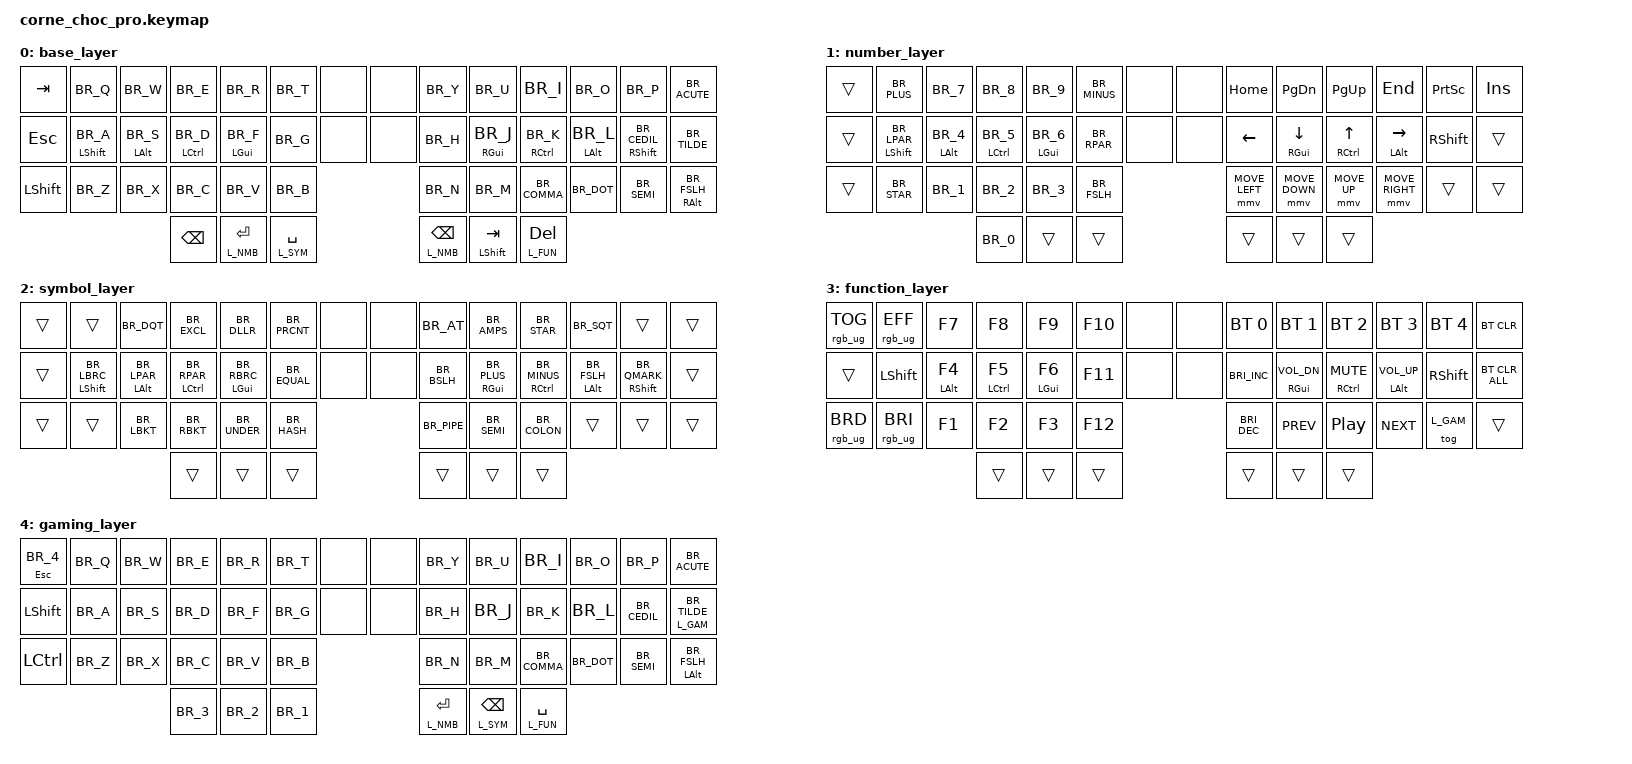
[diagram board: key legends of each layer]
/*
 * Copyright (c) 2020 The ZMK Contributors
 *
 * SPDX-License-Identifier: MIT
 */

#include <behaviors.dtsi>
#include <dt-bindings/zmk/keys.h>
#include <dt-bindings/zmk/bt.h>
#include <dt-bindings/zmk/pointing.h>
#include <dt-bindings/zmk/rgb.h>
#include "keymap_abnt2.h"

// Took from: sukantamaikap/zmk-config-corne
#define LEFT_POSITIONS  0 1 2 3 4 5 14 15 16 17 18 19 28 29 30 31 32 33
#define RIGHT_POSITIONS 8 9 10 11 12 13 22 23 24 25 26 27 34 35 36 37 38 39
#define THUMBS          40 41 42 43 44 45

/* Key Positions:
╭────────────────────────────╮ ╭────────────────────────────╮
│  0   1   2   3   4   5 ( 6)│ │( 7)  8   9  10  11  12  13 │
│ 14  15  16  17  18  19 (20)│ │(21) 22  23  24  25  26  27 │
│ 28  29  30  31  32  33     │ │     34  35  36  37  38  39 │
╰───────────╮ 40  41  42     │ │     43  44  45 ╭───────────╯
            ╰────────────────╯ ╰────────────────╯
 (6, 7, 20, 21) are the optional inner keys/encoders. On this board the
 displays sit there, so they are bound to &none on every layer.
*/

/ {
    chosen {
        zmk,physical-layout = &default_layout;
    };
};

// Layers
#define L_BSE 0
#define L_NMB 1
#define L_SYM 2
#define L_FUN 3
#define L_GAM 4

/ {
    combos {
        compatible = "zmk,combos";

        combo_caps_word {
            timeout-ms = <40>;
            require-prior-idle-ms = <150>;
            key-positions = <15 26>;
            bindings = <&caps_word>;
            layers = <L_BSE>;
        };

        combo_copy {
            timeout-ms = <40>;
            require-prior-idle-ms = <150>;
            key-positions = <30 31>; // X + C
            bindings = <&kp LC(BR_C)>;
            layers = <L_BSE>;
        };

        combo_paste {
            timeout-ms = <40>;
            require-prior-idle-ms = <150>;
            key-positions = <31 32>; // C + V
            bindings = <&kp LC(BR_V)>;
            layers = <L_BSE>;
        };

        combo_cut {
            timeout-ms = <40>;
            require-prior-idle-ms = <150>;
            key-positions = <30 32>; // X + V
            bindings = <&kp LC(BR_X)>;
            layers = <L_BSE>;
        };
    };
    
    behaviors {
        hrml: home_row_mods_left {
            compatible = "zmk,behavior-hold-tap";
            flavor = "balanced";
            tapping-term-ms = <280>;
            quick-tap-ms = <150>;
            require-prior-idle-ms = <105>;
            #binding-cells = <2>;
            bindings = <&kp>, <&kp>;
            hold-trigger-key-positions = <RIGHT_POSITIONS THUMBS>;
            hold-trigger-on-release; // delay positional check until key release
            // global-quick-tap-ms = <75>
        };

        hrmr: home_row_mods_right {
            compatible = "zmk,behavior-hold-tap";
            flavor = "balanced";
            tapping-term-ms = <280>;
            quick-tap-ms = <150>;
            require-prior-idle-ms = <105>;
            #binding-cells = <2>;
            bindings = <&kp>, <&kp>;
            hold-trigger-key-positions = <LEFT_POSITIONS THUMBS>;
            hold-trigger-on-release; // delay positional check until key release
            // global-quick-tap-ms = <75>
        };

        mtb: mod_tap_balanced {
            compatible = "zmk,behavior-hold-tap";
            flavor = "balanced";
            #binding-cells = <2>;
            tapping-term-ms = <200>;
            quick-tap-ms = <140>;
            bindings = <&kp>, <&kp>;
        };

        mtsh: mod_tap_shift {
            compatible = "zmk,behavior-hold-tap";
            flavor = "hold-preferred"; // any key pressed while held -> shift
            #binding-cells = <2>;
            tapping-term-ms = <200>;
            quick-tap-ms = <100>;
            bindings = <&kp>, <&kp>;
        };

        ltb: layer_tap_balanced {
            compatible = "zmk,behavior-hold-tap";
            flavor = "balanced";
            #binding-cells = <2>;
            tapping-term-ms = <200>;
            quick-tap-ms = <140>; // low enough for "space, then hold space for a symbol"
            bindings = <&mo>, <&kp>;
        };

        mttp: mod_tap_tap_preferred {
            compatible = "zmk,behavior-hold-tap";
            #binding-cells = <2>;
            tapping-term-ms = <200>;
            quick-tap-ms = <120>;
            require-prior-idle-ms = <50>;
            flavor = "tap-preferred";
            bindings = <&kp>, <&kp>;
        };

        lttp: layer_toggle_tap_preferred {
            compatible = "zmk,behavior-hold-tap";
            #binding-cells = <2>;
            tapping-term-ms = <300>;
            quick-tap-ms = <150>;
            require-prior-idle-ms = <50>;
            flavor = "tap-preferred";
            bindings = <&tog>, <&kp>;
        };
    };
    
    keymap {
        compatible = "zmk,keymap";
    
        base_layer {
            /*
            * ┌───────┬───────┬───────┬───────┬───────┬───────┐         ┌───────┬───────┬───────┬───────┬───────┬───────┐
            * │  TAB  │   Q   │   W   │   E   │   R   │   T   │         │   Y   │   U   │   I   │   O   │   P   │   ´   │
            * │       │       │       │       │       │       │         │       │       │       │       │       │   `   │
            * ├───────┼───────┼───────┼───────┼───────┼───────┤         ├───────┼───────┼───────┼───────┼───────┼───────┤
            * │  ESC  │   A   │   S   │   D   │   F   │   G   │         │   H   │   J   │   K   │   L   │   Ç   │   ~   │
            * │       │ LSHFT │  LALT │ LCTRL │  LGUI │       │         │       │ RGUI  │ RCTRL │ LALT  │ RSHFT │   ^   │
            * ├───────┼───────┼───────┼───────┼───────┼───────┤         ├───────┼───────┼───────┼───────┼───────┼───────┤
            * │ LSHFT │   Z   │   X   │   C   │   V   │   B   │         │   N   │   M   │   ,   │   .   │   ;   │  / ?  │
            * │       │       │       │       │       │       │         │       │       │   <   │   >   │   :   │ RALT  │
            * └───────┴───────┴───────┼───────┼───────┼───────┤         ├───────┼───────┼───────┼───────┴───────┴───────┘
            *                         │  BSPC │  RET  │ SPACE │         │ BSPC  │  TAB  │  DEL  │
            *                         │       │ L_NMB │ L_SYM │         │ L_NMB │ LSHFT │ L_FUN │
            *                         └───────┴───────┴───────┘         └───────┴───────┴───────┘
            */
    
            bindings = <
                &kp TAB   &kp BR_Q         &kp BR_W        &kp BR_E         &kp BR_R        &kp BR_T         &none     &none &kp BR_Y        &kp BR_U         &kp BR_I         &kp BR_O        &kp BR_P             &kp BR_ACUTE
                &kp ESC   &hrml LSHFT BR_A &hrml LALT BR_S &hrml LCTRL BR_D &hrml LGUI BR_F &kp BR_G         &none     &none &kp BR_H        &hrmr RGUI BR_J  &hrmr RCTRL BR_K &hrmr LALT BR_L &hrmr RSHFT BR_CEDIL &kp BR_TILDE
                &kp LSHFT &kp BR_Z         &kp BR_X        &kp BR_C         &kp BR_V        &kp BR_B                         &kp BR_N        &kp BR_M         &kp BR_COMMA     &kp BR_DOT      &kp BR_SEMI          &mtb RALT BR_FSLH
                                                           &kp BSPC         &ltb L_NMB RET  &ltb L_SYM SPACE                 &ltb L_NMB BSPC &mtsh LSHFT TAB  &ltb L_FUN DEL
            >;
        };
    
        number_layer {
            /*
            * ┌───────┬───────┬───────┬───────┬───────┬───────┐         ┌───────┬───────┬───────┬───────┬───────┬───────┐
            * │   ▼   │   +   │   7   │   8   │   9   │   -   │         │ HOME  │ PG_DN │ PG_UP │  END  │ PSCRN │  INS  │
            * │       │       │       │       │       │       │         │       │       │       │       │       │       │
            * ├───────┼───────┼───────┼───────┼───────┼───────┤         ├───────┼───────┼───────┼───────┼───────┼───────┤
            * │   ▼   │   (   │   4   │   5   │   6   │   )   │         │ LEFT  │ DOWN  │  UP   │ RIGHT │  ▼    │  ▼    │
            * │       │ LSHFT │  LALT │ LCTRL │  LGUI │       │         │       │ RGUI  │ RCTRL │ LALT  │       │       │
            * ├───────┼───────┼───────┼───────┼───────┼───────┤         ├───────┼───────┼───────┼───────┼───────┼───────┤
            * │   ▼   │   *   │   1   │   2   │   3   │   /   │         │ MOUSE │ MOUSE │ MOUSE │ MOUSE │  ▼    │  ▼    │
            * │       │       │       │       │       │       │         │ LEFT  │ DOWN  │  UP   │ RIGHT │       │       │
            * └───────┴───────┴───────┼───────┼───────┼───────┤         ├───────┼───────┼───────┼───────┴───────┴───────┘
            *                         │   0   │   ▼   │   ▼   │         │  ▼    │  ▼    │  ▼    │
            *                         │       │       │       │         │       │       │       │
            *                         └───────┴───────┴───────┘         └───────┴───────┴───────┘
            */
            bindings = <
                &trans &kp BR_PLUS         &kp BR_7        &kp BR_8         &kp BR_9        &kp BR_MINUS &none      &none &kp HOME        &kp PG_DN       &kp PG_UP      &kp END          &kp PSCRN &kp INS
                &trans &hrml LSHFT BR_LPAR &hrml LALT BR_4 &hrml LCTRL BR_5 &hrml LGUI BR_6 &kp BR_RPAR  &none      &none &kp LEFT        &hrmr RGUI DOWN &hrmr RCTRL UP &hrmr LALT RIGHT &kp RSHFT &trans
                &trans &kp BR_STAR         &kp BR_1        &kp BR_2         &kp BR_3        &kp BR_FSLH                   &mmv MOVE_LEFT  &mmv MOVE_DOWN  &mmv MOVE_UP   &mmv MOVE_RIGHT  &trans    &trans
                                                           &kp BR_0         &trans          &trans                        &trans          &trans          &trans
            >;
        };
    
        symbol_layer {
            /*
            * ┌───────┬───────┬───────┬───────┬───────┬───────┐         ┌───────┬───────┬───────┬───────┬───────┬───────┐
            * │   ▼   │   ▼   │   "   │   !   │   $   │   %   │         │   @   │   &   │   *   │   '   │  ▼    │  ▼    │
            * │       │       │       │       │       │       │         │       │       │       │       │       │       │
            * ├───────┼───────┼───────┼───────┼───────┼───────┤         ├───────┼───────┼───────┼───────┼───────┼───────┤
            * │   ▼   │   {   │   (   │   )   │   }   │   =   │         │   \   │   +   │   -   │   /   │   ?   │  ▼    │
            * │       │ LSHFT │  LALT │ LCTRL │  LGUI │       │         │       │ RGUI  │ RCTRL │ LALT  │ RSHFT │       │
            * ├───────┼───────┼───────┼───────┼───────┼───────┤         ├───────┼───────┼───────┼───────┼───────┼───────┤
            * │   ▼   │   ▼   │   [   │   ]   │   _   │   #   │         │   |   │   ;   │   :   │  ▼    │  ▼    │  ▼    │
            * │       │       │       │       │       │       │         │       │       │       │       │       │       │
            * └───────┴───────┴───────┼───────┼───────┼───────┤         ├───────┼───────┼───────┼───────┴───────┴───────┘
            *                         │   ▼   │   ▼   │   ▼   │         │  ▼    │  ▼    │  ▼    │
            *                         │       │       │       │         │       │       │       │
            *                         └───────┴───────┴───────┘         └───────┴───────┴───────┘
            */
            bindings = <
                &trans &trans              &kp BR_DQT         &kp BR_EXCL         &kp BR_DLLR         &kp BR_PRCNT &none     &none   &kp BR_AT   &kp BR_AMPS        &kp BR_STAR          &kp BR_SQT         &trans               &trans
                &trans &hrml LSHFT BR_LBRC &hrml LALT BR_LPAR &hrml LCTRL BR_RPAR &hrml LGUI BR_RBRC  &kp BR_EQUAL &none     &none   &kp BR_BSLH &hrmr RGUI BR_PLUS &hrmr RCTRL BR_MINUS &hrmr LALT BR_FSLH &hrmr RSHFT BR_QMARK &trans
                &trans &trans              &kp BR_LBKT        &kp BR_RBKT         &kp BR_UNDER        &kp BR_HASH                    &kp BR_PIPE &kp BR_SEMI        &kp BR_COLON         &trans             &trans               &trans
                                                              &trans              &trans              &trans                         &trans      &trans             &trans
            >;
        };
    
        function_layer {
            /*
            * ┌───────┬───────┬───────┬───────┬───────┬───────┐         ┌───────┬───────┬───────┬───────┬───────┬───────┐
            * │  RGB  │  RGB  │   F7  │   F8  │   F9  │  F10  │         │ BT_0  │ BT_1  │ BT_2  │ BT_4  │ BT_5  │ BTCLR │
            * │  TOG  │  EFF  │       │       │       │       │         │       │       │       │       │       │       │
            * ├───────┼───────┼───────┼───────┼───────┼───────┤         ├───────┼───────┼───────┼───────┼───────┼───────┤
            * │   ▼   │ LSHFT │   F4  │   F5  │   F6  │  F11  │         │ BRGHT │ VOL+  │ MUTE  │ VOL-  │ RSHFT │ BTCTR │
            * │       │       │  LALT │ LCTRL │  LGUI │       │         │ INS   │ RGUI  │ RCTRL │ LALT  │       │  ALL  │
            * ├───────┼───────┼───────┼───────┼───────┼───────┤         ├───────┼───────┼───────┼───────┼───────┼───────┤
            * │  RGB  │  RGB  │   F1  │   F2  │   F3  │  F12  │         │ BRGHT │ PREV  │ PLAY  │ NEXT  │  TOG  │  ▼    │
            * │ BRI-  │ BRI+  │       │       │       │       │         │ DEC   │       │ PAUSE │       │ L_GAM │       │
            * └───────┴───────┴───────┼───────┼───────┼───────┤         ├───────┼───────┼───────┼───────┴───────┴───────┘
            *                         │   ▼   │   ▼   │   ▼   │         │  ▼    │  ▼    │  ▼    │
            *                         │       │       │       │         │       │       │       │
            *                         └───────┴───────┴───────┘         └───────┴───────┴───────┘
            */
            bindings = <
                &rgb_ug RGB_TOG &rgb_ug RGB_EFF &kp F7        &kp F8         &kp F9        &kp F10 &none     &none &bt BT_SEL 0  &bt BT_SEL 1        &bt BT_SEL 2       &bt BT_SEL 3        &bt BT_SEL 4 &bt BT_CLR
                &trans          &kp LSHIFT      &hrml LALT F4 &hrml LCTRL F5 &hrml LGUI F6 &kp F11 &none     &none &kp C_BRI_INC &hrmr RGUI C_VOL_DN &hrmr RCTRL C_MUTE &hrmr LALT C_VOL_UP &kp RSHFT    &bt BT_CLR_ALL
                &rgb_ug RGB_BRD &rgb_ug RGB_BRI &kp F1        &kp F2         &kp F3        &kp F12                 &kp C_BRI_DEC &kp C_PREV          &kp C_PP           &kp C_NEXT          &tog L_GAM   &trans
                                                              &trans         &trans        &trans                  &trans        &trans              &trans
            >;
        };

        gaming_layer {
            /*
            * ┌───────┬───────┬───────┬───────┬───────┬───────┐         ┌───────┬───────┬───────┬───────┬───────┬───────┐
            * │   4   │   ▼   │   ▼   │   ▼   │   ▼   │   ▼   │         │  ▼    │  ▼    │  ▼    │  ▼    │  ▼    │  ▼    │
            * │       │       │       │       │       │       │         │       │       │       │       │       │       │
            * ├───────┼───────┼───────┼───────┼───────┼───────┤         ├───────┼───────┼───────┼───────┼───────┼───────┤
            * │ LSHFT │   A   │   S   │   D   │   F   │   ▼   │         │  ▼    │  J    │  K    │  L    │  Ç    │  ▼    │
            * │       │       │       │       │       │       │         │       │       │       │       │       │       │
            * ├───────┼───────┼───────┼───────┼───────┼───────┤         ├───────┼───────┼───────┼───────┼───────┼───────┤
            * │ LCTRL │   ▼   │   ▼   │   ▼   │   ▼   │   ▼   │         │  ▼    │  ▼    │  ▼    │  ▼    │  ▼    │  ▼    │
            * │       │       │       │       │       │       │         │       │       │       │       │       │       │
            * └───────┴───────┴───────┼───────┼───────┼───────┤         ├───────┼───────┼───────┼───────┴───────┴───────┘
            *                         │   3   │   2   │   1   │         │  RET  │ BSPC  │ SPACE │
            *                         │       │       │       │         │ L_NMB │ L_SYM │ L_FUN │
            *                         └───────┴───────┴───────┘         └───────┴───────┴───────┘
            */
            bindings = <
                &mttp ESC BR_4  &kp BR_Q &kp BR_W &kp BR_E &kp BR_R &kp BR_T &none     &none &kp BR_Y       &kp BR_U        &kp BR_I         &kp BR_O         &kp BR_P     &kp BR_ACUTE
                &kp LSHFT       &kp BR_A &kp BR_S &kp BR_D &kp BR_F &kp BR_G &none     &none &kp BR_H       &kp BR_J        &kp BR_K         &kp BR_L         &kp BR_CEDIL &lttp L_GAM BR_TILDE
                &kp LCTRL       &kp BR_Z &kp BR_X &kp BR_C &kp BR_V &kp BR_B                 &kp BR_N       &kp BR_M        &kp BR_COMMA     &kp BR_DOT       &kp BR_SEMI  &mtb LALT BR_FSLH
                                                  &kp BR_3 &kp BR_2 &kp BR_1                 &ltb L_NMB RET  &ltb L_SYM BSPC  &ltb L_FUN SPACE
            >;
        };
    };
};
